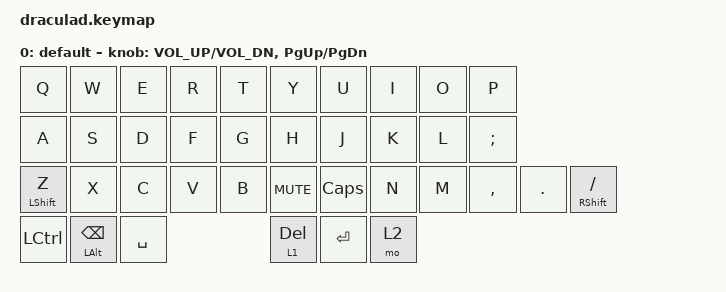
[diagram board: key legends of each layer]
/*
 * Copyright (c) 2020 The ZMK Contributors
 *
 * SPDX-License-Identifier: MIT
 */

//#include <behaviors.dtsi>
#include <dt-bindings/zmk/keys.h>
#include <dt-bindings/zmk/bt.h>  
#include <dt-bindings/zmk/outputs.h>

/ {
    keymap {
        compatible = "zmk,keymap";

        default {
// --------------------------------------------------------------------------------------------------------------------------------------------------------------------
//  Q    |  W  |  E  |  R  |  T  |           |  Y  |  U  |  I  |    O    |  P   |
//  A    |  S  |  D  |  F  |  G  |           |  H  |  J  |  K  |    L    |  ;   |
// Lsft/Z|  X  |  C  |  V  |  B  |           |  N  |  M  |  ,  |    .    |Rsft//|
//      | LCTL | Bspc/LALT | SPC | CAPS| MUTE| Del/Num | Ent | Sym |
           bindings = <
            &kp Q &kp W &kp E &kp R &kp T &kp Y &kp U &kp I &kp O &kp P
            &kp A &kp S &kp D &kp F &kp G &kp H &kp J &kp K &kp L &kp SEMI
            &mt LSHFT Z &kp X &kp C &kp V &kp B &kp C_MUTE &kp CAPS &kp N &kp M &kp COMMA &kp DOT &mt RSHFT FSLH
            &kp LCTRL &mt LALT BSPC &kp SPACE &lt 1 DEL &kp RET &mo 2
            >;
            sensor-bindings = <&inc_dec_kp C_VOL_UP C_VOL_DN &inc_dec_kp PG_UP PG_DN>;
        };
/*        numbers {
// --------------------------------------------------------------------------------------------------------------------------------------------------------------------
//  1  |    2   |  3     |  4  |  5  |           |  6  |  7  |  8  |  9  |  0  |
// TAB | BT_PRV | BT_NXT | VOL-| VOL+|           |  <  |  v  |  ∧  |  >  |  '  |
// Lsft| BT_SEL0| BT_CLR | MUTE|     |           | HOME| END | PGUP| PGDN| Rsft|
//               | LCTL | LALT| LMOD | CAPS| MUTE| Num |     | BL-reset |
           bindings = <
            &kp N1 &kp N2 &kp N3 &kp N4 &kp N5 &kp N6 &kp N7 &kp N8 &kp N9 &kp N0
            &kp TAB &bt BT_PRV &bt BT_NXT &kp C_VOL_DN &kp C_VOL_UP &kp LEFT &kp DOWN &kp UP &kp RIGHT &kp SQT
            &kp LSHFT &bt BT_SEL 0 &bt BT_CLR &kp C_MUTE &none &kp CAPS &kp C_MUTE &kp HOME &kp END &kp PG_UP &kp PG_DN &kp RSHFT
            &kp LCTRL &kp LALT &kp LGUI &trans &none &bootloader
            >;
        };
        symbols {
// --------------------------------------------------------------------------------------------------------------------------------------------------------------------
// ESC |  F1 |  F2 |  F3 |  F4 |                | OUT_USB | OUT_BLE |        |  =  |  -   |
// CAPS|  F5 |  F6 |  F7 |  F8 |                |    [    |    ]    |        |  `  |  \   |
// LSFT|  F9 | F10 | F11 | F12 |                |         |         |        |     | RSFT |
//         | LCTL | LALD| LMOD | CAPS  | MUTE   |  RESET  |         |   SYM  |
           bindings = <
            &kp ESC &kp F1 &kp F2 &kp F3 &kp F4 &out OUT_USB &out OUT_BLE &none  &kp EQUAL &kp MINUS
            &kp CAPS &kp F5 &kp F6 &kp F7 &kp F8 &kp LBKT &kp RBKT &none &kp GRAVE &kp BSLH
            &kp LSHFT &kp F9 &kp F10 &kp F11 &kp F12 &kp CAPS &kp C_MUTE &none &none &none &kp RSHFT
            &kp LCTRL &kp LALT &kp LGUI &reset &none &trans
           >;

        };*/
    };
};
